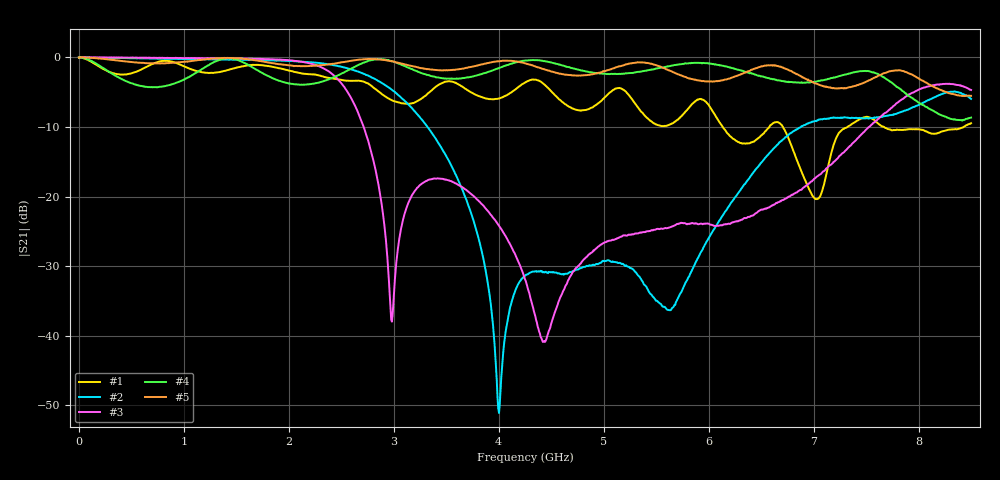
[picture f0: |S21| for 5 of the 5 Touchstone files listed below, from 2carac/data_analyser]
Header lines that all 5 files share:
# Hz S RI R 50
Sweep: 300 kHz to 8.5 GHz
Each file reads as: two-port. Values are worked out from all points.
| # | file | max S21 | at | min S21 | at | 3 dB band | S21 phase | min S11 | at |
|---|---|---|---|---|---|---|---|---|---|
| 1 | epoxFin.s2p | 0.00 dB | 7.383 MHz | -20.4 dB | 7.02 GHz | 300 kHz-2.409 GHz | 47 deg at 4.25 GHz | -42.4 dB | 300 kHz |
| 2 | filtreElipEpox.s2p | 0.02 dB | 7.383 MHz | -51.1 dB | 4.002 GHz | 300 kHz-2.805 GHz | -38 deg at 4.25 GHz | -60.5 dB | 14.47 MHz |
| 3 | filtreElipTef.s2p | 0.02 dB | 7.383 MHz | -40.9 dB | 4.42 GHz | 300 kHz-2.451 GHz | -10 deg at 4.25 GHz | -56.8 dB | 14.47 MHz |
| 4 | tefFin.s2p | 0.00 dB | 7.383 MHz | -9.1 dB | 8.415 GHz | 3.648 GHz-6.573 GHz | 174 deg at 4.25 GHz | -41.6 dB | 300 kHz |
| 5 | tefLarge.s2p | 0.02 dB | 7.383 MHz | -5.6 dB | 8.443 GHz | 300 kHz-5.801 GHz | 122 deg at 4.25 GHz | -43.4 dB | 7.383 MHz |
